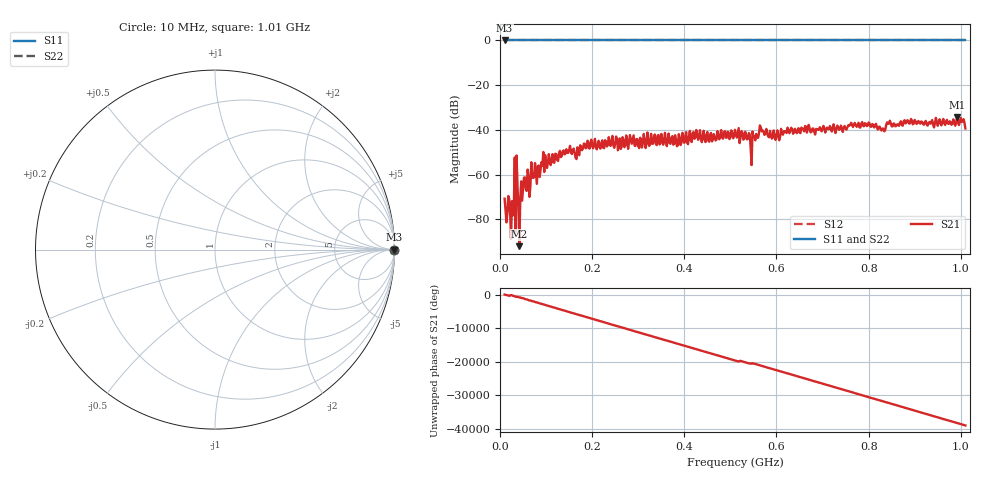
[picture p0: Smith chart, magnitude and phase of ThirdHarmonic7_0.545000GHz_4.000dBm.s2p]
! 8/17/2025 4:28:03 PM
! C:\ANRITSUVNA\TEMP\TEMP.S2P
! CHANNEL.1
! TR.MEASUREMENT
! RAW.DATA
! RF.CORRECTION.OFF
! AVERAGING.OFF
! IF.BANDWIDTH: 5KHZ
! SWEEPTYPE:  FREQ.SWEEP(Linear)
! Reference Plane Port Info
! PORT:  PORT1  PORT2
! DISTANCE:  0  m  0  m
! TIME:  0  s  0  s
! PHASE.OFFSET:  0  deg.  0  deg.
! LOSS:  0  dB  0  dB
! REF.LOSS:  0  dB  0  dB
! REF.FREQ:  0  Hz  0  Hz
! Power Info
! POWER:  -20  dBm  -20  dBm
! EFF.POWER:  -20  dBm  -20  dBm
! SOURCE.ATTEN:  0  dB  0  dB
! TEST.ATTEN:  0  dB  0  dB
# GHZ S RI R 50.0
! FREQ.GHZ  S11RE  S11IM  S21RE  S21IM  S12RE  S12IM  S22RE  S22IM
!; PortSelection: Port_12
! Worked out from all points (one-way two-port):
!   501 points, 10 MHz to 1.01 GHz, reference 50 ohm
!   highest |S21| = -34.25 dB at 992 MHz (marker M1); lowest = -92.1 dB at 42 MHz (marker M2)
!   lowest |S11| = 0.0 dB at 10 MHz (marker M3)
!   |S11| at or under -10 dB: nowhere
!   |S22| runs from 0.0 to 0.0 dB; largest |S21 - S12| = 1
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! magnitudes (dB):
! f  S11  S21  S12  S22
! 10 MHz  0.0  -70.8  0.0  0.0
! 26 MHz  0.0  -71.9  0.0  0.0
! 34 MHz  0.0  -85.5  0.0  0.0
! 42 MHz  0.0  -92.1  0.0  0.0
! 44 MHz  0.0  -71.3  0.0  0.0
! 50 MHz  0.0  -66.5  0.0  0.0
! 84 MHz  0.0  -56.0  0.0  0.0
! 94 MHz  0.0  -49.9  0.0  0.0
! 168 MHz  0.0  -47.9  0.0  0.0
! 178 MHz  0.0  -49.1  0.0  0.0
! 344 MHz  0.0  -42.3  0.0  0.0
! 510 MHz  0.0  -40.0  0.0  0.0
! 536 MHz  0.0  -44.3  0.0  0.0
! 542 MHz  0.0  -42.1  0.0  0.0
! 568 MHz  0.0  -40.7  0.0  0.0
! 594 MHz  0.0  -40.3  0.0  0.0
! 678 MHz  0.0  -39.4  0.0  0.0
! 788 MHz  0.0  -38.2  0.0  0.0
! 832 MHz  0.0  -39.5  0.0  0.0
! 844 MHz  0.0  -37.2  0.0  0.0
! 992 MHz  0.0  -34.2  0.0  0.0
! 1.01 GHz  0.0  -39.4  0.0  0.0
